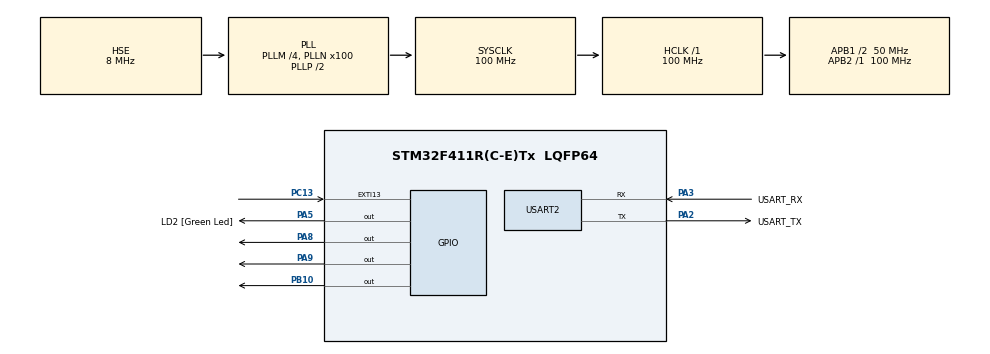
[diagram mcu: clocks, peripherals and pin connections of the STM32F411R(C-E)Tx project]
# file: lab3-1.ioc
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Mcu.Family=STM32F4
Mcu.Name=STM32F411R(C-E)Tx
Mcu.Package=LQFP64
NVIC.EXTI15_10_IRQn=true\:0\:0\:true\:false\:true\:true\:true\:true
NVIC.PriorityGroup=NVIC_PRIORITYGROUP_0
PA13.GPIO_Label=TMS
PA13.Mode=Serial_Wire
PA13.Signal=SYS_JTMS-SWDIO
PA14.GPIO_Label=TCK
PA14.Mode=Serial_Wire
PA14.Signal=SYS_JTCK-SWCLK
PA2.GPIO_Label=USART_TX
PA2.Mode=Asynchronous
PA2.Signal=USART2_TX
PA3.GPIO_Label=USART_RX
PA3.Mode=Asynchronous
PA3.Signal=USART2_RX
PA5.GPIO_Label=LD2 [Green Led]
PA5.Signal=GPIO_Output
PA8.Signal=GPIO_Output
PA9.Signal=GPIO_Output
PB10.Signal=GPIO_Output
PB3.GPIO_Label=SWO
PB3.Signal=SYS_JTDO-SWO
PC13-ANTI_TAMP.GPIO_ModeDefaultEXTI=GPIO_MODE_IT_FALLING
PC13-ANTI_TAMP.GPIO_PuPd=GPIO_PULLUP
PC13-ANTI_TAMP.Signal=GPXTI13
PC14-OSC32_IN.Mode=LSE-External-Oscillator
PC14-OSC32_IN.Signal=RCC_OSC32_IN
PC15-OSC32_OUT.Mode=LSE-External-Oscillator
PC15-OSC32_OUT.Signal=RCC_OSC32_OUT
PH0\ -\ OSC_IN.Mode=HSE-External-Clock-Source
PH0\ -\ OSC_IN.Signal=RCC_OSC_IN
PH1\ -\ OSC_OUT.Mode=HSE-External-Clock-Source
PH1\ -\ OSC_OUT.Signal=RCC_OSC_OUT
ProjectManager.HeapSize=0x200
ProjectManager.StackSize=0x400
ProjectManager.TargetToolchain=STM32CubeIDE
RCC.48MHZClocksFreq_Value=50000000
RCC.AHBFreq_Value=100000000
RCC.APB1CLKDivider=RCC_HCLK_DIV2
RCC.APB1Freq_Value=50000000
RCC.APB1TimFreq_Value=100000000
RCC.APB2Freq_Value=100000000
RCC.APB2TimFreq_Value=100000000
RCC.CortexFreq_Value=100000000
RCC.FLatency-AdvancedSettings=FLASH_LATENCY_3
RCC.HCLKFreq_Value=100000000
RCC.HSE_VALUE=8000000
RCC.HSI_VALUE=16000000
RCC.PLLM=4
RCC.PLLN=100
RCC.PLLSourceVirtual=RCC_PLLSOURCE_HSE
RCC.SYSCLKFreq_VALUE=100000000
RCC.SYSCLKSource=RCC_SYSCLKSOURCE_PLLCLK
RCC.VCOOutputFreq_Value=200000000
USART2.VirtualMode=VM_ASYNC
board=NUCLEO-F411RE

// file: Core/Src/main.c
/* USER CODE BEGIN Header */
/**
 ******************************************************************************
 * @file           : main.c
 * @brief          : Main program body
 ******************************************************************************
 * @attention
 *
 * Copyright (c) 2026 STMicroelectronics.
 * All rights reserved.
 *
 * This software is licensed under terms that can be found in the LICENSE file
 * in the root directory of this software component.
 * If no LICENSE file comes with this software, it is provided AS-IS.
 *
 ******************************************************************************
 */
/* USER CODE END Header */
#include "main.h"

UART_HandleTypeDef huart2;

void SystemClock_Config(void);
static void MX_GPIO_Init(void);
static void MX_USART2_UART_Init(void);

/* USER CODE BEGIN 0 */
uint8_t index = 0;
uint32_t prevTick;
uint32_t table[] = {100, 500, 2500};
void HAL_GPIO_EXTI_Callback(uint16_t GPIO_PIN) {
  if (HAL_GetTick() - prevTick >= 50 && GPIO_PIN == GPIO_PIN_13) {
    prevTick = HAL_GetTick();
    index = (index + 1) % 3;
  }
}
/* USER CODE END 0 */

int main(void) {

  /* MCU Configuration--------------------------------------------------------*/

  /* Reset of all peripherals, Initializes the Flash interface and the Systick.
   */
  HAL_Init();

  /* Configure the system clock */
  SystemClock_Config();

  /* Initialize all configured peripherals */
  MX_GPIO_Init();
  MX_USART2_UART_Init();

  /* Infinite loop */
  /* USER CODE BEGIN WHILE */
  uint32_t prev = HAL_GetTick();
  uint32_t prevTick = HAL_GetTick();
  while (1) {
    if (HAL_GetTick() - prev >= table[index]) {
      HAL_GPIO_TogglePin(GPIOA, GPIO_PIN_9);
      HAL_GPIO_TogglePin(GPIOA, GPIO_PIN_5);
      prev = HAL_GetTick();
    }
    /* USER CODE END WHILE */

  }
}

void SystemClock_Config(void) {
  RCC_OscInitTypeDef RCC_OscInitStruct = {0};
  RCC_ClkInitTypeDef RCC_ClkInitStruct = {0};

  /** Configure the main internal regulator output voltage
   */
  __HAL_RCC_PWR_CLK_ENABLE();
  __HAL_PWR_VOLTAGESCALING_CONFIG(PWR_REGULATOR_VOLTAGE_SCALE1);

  /** Initializes the RCC Oscillators according to the specified parameters
   * in the RCC_OscInitTypeDef structure.
   */
  RCC_OscInitStruct.OscillatorType = RCC_OSCILLATORTYPE_HSE;
  RCC_OscInitStruct.HSEState = RCC_HSE_BYPASS;
  RCC_OscInitStruct.PLL.PLLState = RCC_PLL_ON;
  RCC_OscInitStruct.PLL.PLLSource = RCC_PLLSOURCE_HSE;
  RCC_OscInitStruct.PLL.PLLM = 4;
  RCC_OscInitStruct.PLL.PLLN = 100;
  RCC_OscInitStruct.PLL.PLLP = RCC_PLLP_DIV2;
  RCC_OscInitStruct.PLL.PLLQ = 4;
  if (HAL_RCC_OscConfig(&RCC_OscInitStruct) != HAL_OK) {
    Error_Handler();
  }

  /** Initializes the CPU, AHB and APB buses clocks
   */
  RCC_ClkInitStruct.ClockType = RCC_CLOCKTYPE_HCLK | RCC_CLOCKTYPE_SYSCLK |
                                RCC_CLOCKTYPE_PCLK1 | RCC_CLOCKTYPE_PCLK2;
  RCC_ClkInitStruct.SYSCLKSource = RCC_SYSCLKSOURCE_PLLCLK;
  RCC_ClkInitStruct.AHBCLKDivider = RCC_SYSCLK_DIV1;
  RCC_ClkInitStruct.APB1CLKDivider = RCC_HCLK_DIV2;
  RCC_ClkInitStruct.APB2CLKDivider = RCC_HCLK_DIV1;

  if (HAL_RCC_ClockConfig(&RCC_ClkInitStruct, FLASH_LATENCY_3) != HAL_OK) {
    Error_Handler();
  }
}

static void MX_USART2_UART_Init(void) {

  huart2.Instance = USART2;
  huart2.Init.BaudRate = 115200;
  huart2.Init.WordLength = UART_WORDLENGTH_8B;
  huart2.Init.StopBits = UART_STOPBITS_1;
  huart2.Init.Parity = UART_PARITY_NONE;
  huart2.Init.Mode = UART_MODE_TX_RX;
  huart2.Init.HwFlowCtl = UART_HWCONTROL_NONE;
  huart2.Init.OverSampling = UART_OVERSAMPLING_16;
  if (HAL_UART_Init(&huart2) != HAL_OK) {
    Error_Handler();
  }
}

static void MX_GPIO_Init(void) {
  GPIO_InitTypeDef GPIO_InitStruct = {0};

  /* GPIO Ports Clock Enable */
  __HAL_RCC_GPIOC_CLK_ENABLE();
  __HAL_RCC_GPIOH_CLK_ENABLE();
  __HAL_RCC_GPIOA_CLK_ENABLE();
  __HAL_RCC_GPIOB_CLK_ENABLE();

  /*Configure GPIO pin Output Level */
  HAL_GPIO_WritePin(GPIOA, LD2_Pin | GPIO_PIN_8 | GPIO_PIN_9, GPIO_PIN_RESET);

  /*Configure GPIO pin Output Level */
  HAL_GPIO_WritePin(GPIOB, GPIO_PIN_10, GPIO_PIN_RESET);

  /*Configure GPIO pin : PC13 */
  GPIO_InitStruct.Pin = GPIO_PIN_13;
  GPIO_InitStruct.Mode = GPIO_MODE_IT_FALLING;
  GPIO_InitStruct.Pull = GPIO_PULLUP;
  HAL_GPIO_Init(GPIOC, &GPIO_InitStruct);

  /*Configure GPIO pins : LD2_Pin PA8 PA9 */
  GPIO_InitStruct.Pin = LD2_Pin | GPIO_PIN_8 | GPIO_PIN_9;
  GPIO_InitStruct.Mode = GPIO_MODE_OUTPUT_PP;
  GPIO_InitStruct.Pull = GPIO_NOPULL;
  GPIO_InitStruct.Speed = GPIO_SPEED_FREQ_LOW;
  HAL_GPIO_Init(GPIOA, &GPIO_InitStruct);

  /*Configure GPIO pin : PB10 */
  GPIO_InitStruct.Pin = GPIO_PIN_10;
  GPIO_InitStruct.Mode = GPIO_MODE_OUTPUT_PP;
  GPIO_InitStruct.Pull = GPIO_NOPULL;
  GPIO_InitStruct.Speed = GPIO_SPEED_FREQ_LOW;
  HAL_GPIO_Init(GPIOB, &GPIO_InitStruct);

  /* EXTI interrupt init*/
  HAL_NVIC_SetPriority(EXTI15_10_IRQn, 0, 0);
  HAL_NVIC_EnableIRQ(EXTI15_10_IRQn);

}

void Error_Handler(void) {
  __disable_irq();
  while (1) {
  }
}
#ifdef USE_FULL_ASSERT
/**
 * @brief  Reports the name of the source file and the source line number
 *         where the assert_param error has occurred.
 * @param  file: pointer to the source file name
 * @param  line: assert_param error line source number
 * @retval None
 */
void assert_failed(uint8_t *file, uint32_t line) {
  /* USER CODE BEGIN 6 */
  /* User can add his own implementation to report the file name and line
     number, ex: printf("Wrong parameters value: file %s on line %d\r\n", file,
     line) */
  /* USER CODE END 6 */
}
#endif /* USE_FULL_ASSERT */
